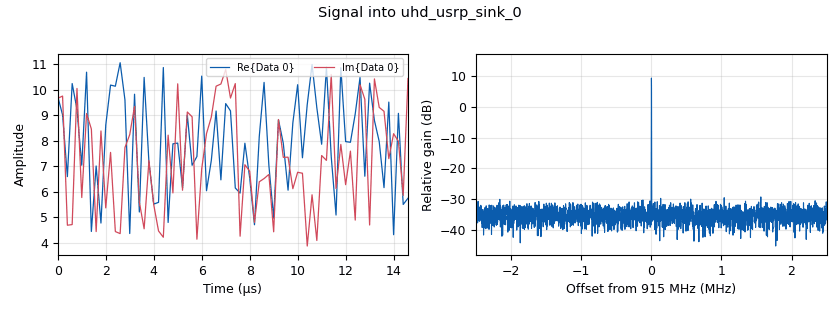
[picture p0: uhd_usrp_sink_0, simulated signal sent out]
options:
  parameters:
    generate_options: qt_gui
    id: transmitter
    output_language: python
    title: Not titled yet
  states: {}

blocks:
- name: samp_rate
  id: variable
  parameters:
    value: '5000000'
  states: {}
- name: uiselect
  id: variable_qtgui_chooser
  parameters:
    gui_hint: 0,0
    label: Select Source
    label0: Signal + Noise
    label1: Noise
    num_opts: '2'
    option0: '0'
    option1: '1'
    type: int
    value: '0'
  states: {}
- name: analog_noise_source_x_0
  id: analog_noise_source_x
  parameters:
    amp: '5'
    noise_type: analog.GR_UNIFORM
    seed: '0'
    type: complex
  states: {}
- name: analog_sig_source_x_0
  id: analog_sig_source_x
  parameters:
    amp: '10'
    freq: '915000000'
    offset: '0'
    phase: '0'
    samp_rate: samp_rate
    type: complex
    waveform: analog.GR_TRI_WAVE
  states: {}
- name: blocks_add_xx_0
  id: blocks_add_xx
  parameters:
    type: complex
  states: {}
- name: blocks_selector_0
  id: blocks_selector
  parameters:
    enabled: 'True'
    input_index: uiselect
    num_inputs: '2'
    num_outputs: '1'
    output_index: '0'
    type: complex
  states: {}
- name: uhd_usrp_sink_0
  id: uhd_usrp_sink
  parameters:
    ant0: '"TX/RX"'
    bw0: '1000000'
    center_freq0: '915000000'
    gain0: '40'
    samp_rate: samp_rate
    sync: none
    type: fc32
  states: {}

connections:
- [analog_noise_source_x_0, '0', blocks_add_xx_0, '1']
- [analog_noise_source_x_0, '0', blocks_selector_0, '1']
- [analog_sig_source_x_0, '0', blocks_add_xx_0, '0']
- [blocks_add_xx_0, '0', blocks_selector_0, '0']
- [blocks_selector_0, '0', uhd_usrp_sink_0, '0']

metadata:
  file_format: 1
  grc_version: 3.10.10.0
